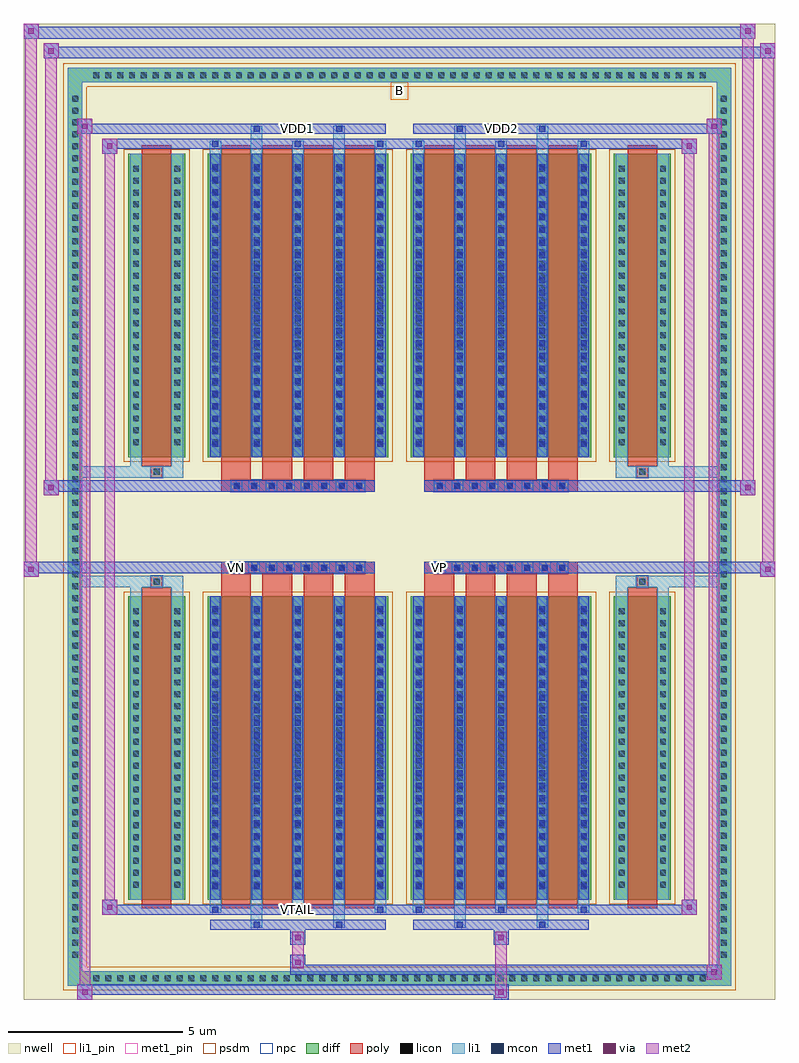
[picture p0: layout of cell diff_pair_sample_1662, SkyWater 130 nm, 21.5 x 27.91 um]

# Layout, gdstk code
import gdstk
lib = gdstk.Library(unit=1e-6, precision=5e-09)
def R(c, l, rs):  # rectangles x0, y0, x1, y1
    for r in rs: c.add(gdstk.rectangle(r[:2], r[2:], *l))
def A(c, l, x, y, w, h, nx, ny, dx, dy):  # array of equal rectangles
    R(c, l, [(x+i*dx, y+j*dy, x+i*dx+w, y+j*dy+h) for i in range(nx) for j in range(ny)])
def P(c, l, *ps):  # polygons
    for p in ps: c.add(gdstk.Polygon(p, *l))
nwell = (64, 20)
diff = (65, 20)
poly = (66, 20)
licon = (66, 44)
li1_pin = (67, 16)
li1 = (67, 20)
mcon = (67, 44)
met1_pin = (68, 16)
met1 = (68, 20)
via = (68, 44)
met2 = (69, 20)
psdm = (94, 20)
npc = (95, 20)

diff_pair_sample_1662 = lib.new_cell('diff_pair_sample_1662')
R(diff_pair_sample_1662, nwell, [(-10.75,-13.52,10.75,14.39), (-8.07,-11.71,-0.01,-0.805), (0.01,-11.71,8.07,-0.805), (-8.07,0.805,-0.01,11.71), (0.01,0.805,8.07,11.71)])
A(diff_pair_sample_1662, diff, -8.875, -13.12, 0.41, 0.41, 52, 2, 0.34, 25.83)
A(diff_pair_sample_1662, diff, -9.48, -12.445, 0.41, 0.41, 1, 73, 0, 0.34)
A(diff_pair_sample_1662, diff, 9.07, -12.445, 0.41, 0.41, 1, 73, 0, 0.34)
R(diff_pair_sample_1662, diff, [(-8.875,-13.12,8.875,-12.71), (-9.48,-12.445,-9.07,12.445), (9.07,-12.445,9.48,12.445), (-7.76,-10.665,-6.13,-1.985), (-5.49,-10.665,-0.32,-1.985), (0.32,-10.665,5.49,-1.985), (6.13,-10.665,7.76,-1.985), (-7.76,1.985,-6.13,10.665), (-5.49,1.985,-0.32,10.665), (0.32,1.985,5.49,10.665), (6.13,1.985,7.76,10.665), (-8.875,12.71,8.875,13.12)])
P(diff_pair_sample_1662, diff, [(9.48,13.12),(-9.48,13.12),(-9.48,-12.71),(-9.07,-12.71),(-9.07,12.71),(9.07,12.71),(9.07,-12.71),(-9.07,-12.71),(-9.48,-12.71),(-9.48,-13.12),(9.48,-13.12)])
A(diff_pair_sample_1662, poly, -5.1, -10.915, 0.85, 9.18, 4, 2, 1.18, 12.65)
A(diff_pair_sample_1662, poly, 0.71, -10.915, 0.85, 9.18, 4, 2, 1.18, 12.65)
A(diff_pair_sample_1662, poly, -5.1, -1.735, 0.85, 0.4, 4, 2, 1.18, 3.07)
A(diff_pair_sample_1662, poly, 0.71, -1.735, 0.85, 0.4, 4, 2, 1.18, 3.07)
A(diff_pair_sample_1662, poly, -4.82, -1.335, 0.33, 0.33, 8, 2, 0.5, 2.34)
A(diff_pair_sample_1662, poly, 0.99, -1.335, 0.33, 0.33, 8, 2, 0.5, 2.34)
R(diff_pair_sample_1662, poly, [(-7.37,-10.915,-6.52,-1.735), (6.52,-10.915,7.37,-1.735), (-7.11,-1.735,-6.78,-1.405), (-7.11,-1.735,-6.78,-1.405), (6.78,-1.735,7.11,-1.405), (6.78,-1.735,7.11,-1.405), (-5.1,-1.335,-0.71,-1.005), (0.71,-1.335,5.1,-1.005), (-5.1,1.005,-0.71,1.335), (0.71,1.005,5.1,1.335), (-7.11,1.405,-6.78,1.735), (-7.11,1.405,-6.78,1.735), (6.78,1.405,7.11,1.735), (6.78,1.405,7.11,1.735), (-7.37,1.735,-6.52,10.915), (6.52,1.735,7.37,10.915)])
A(diff_pair_sample_1662, licon, -8.755, -13, 0.17, 0.17, 52, 2, 0.34, 25.83)
A(diff_pair_sample_1662, licon, -9.36, -12.325, 0.17, 0.17, 1, 73, 0, 0.34)
A(diff_pair_sample_1662, licon, 9.19, -12.325, 0.17, 0.17, 1, 73, 0, 0.34)
A(diff_pair_sample_1662, licon, -7.62, -10.32, 0.17, 0.17, 1, 24, 0, 0.34)
A(diff_pair_sample_1662, licon, -6.44, -10.32, 0.17, 0.17, 1, 24, 0, 0.34)
A(diff_pair_sample_1662, licon, -5.35, -10.32, 0.17, 0.17, 5, 24, 1.18, 0.34)
A(diff_pair_sample_1662, licon, 0.46, -10.32, 0.17, 0.17, 5, 24, 1.18, 0.34)
A(diff_pair_sample_1662, licon, 6.27, -10.32, 0.17, 0.17, 1, 24, 0, 0.34)
A(diff_pair_sample_1662, licon, 7.45, -10.32, 0.17, 0.17, 1, 24, 0, 0.34)
A(diff_pair_sample_1662, licon, -4.74, -1.255, 0.17, 0.17, 8, 2, 0.5, 2.34)
A(diff_pair_sample_1662, licon, 1.07, -1.255, 0.17, 0.17, 8, 2, 0.5, 2.34)
A(diff_pair_sample_1662, licon, -7.62, 2.33, 0.17, 0.17, 1, 24, 0, 0.34)
A(diff_pair_sample_1662, licon, -6.44, 2.33, 0.17, 0.17, 1, 24, 0, 0.34)
A(diff_pair_sample_1662, licon, -5.35, 2.33, 0.17, 0.17, 5, 24, 1.18, 0.34)
A(diff_pair_sample_1662, licon, 0.46, 2.33, 0.17, 0.17, 5, 24, 1.18, 0.34)
A(diff_pair_sample_1662, licon, 6.27, 2.33, 0.17, 0.17, 1, 24, 0, 0.34)
A(diff_pair_sample_1662, licon, 7.45, 2.33, 0.17, 0.17, 1, 24, 0, 0.34)
R(diff_pair_sample_1662, licon, [(-7.03,-1.655,-6.86,-1.485), (6.86,-1.655,7.03,-1.485), (-7.03,1.485,-6.86,1.655), (6.86,1.485,7.03,1.655)])
R(diff_pair_sample_1662, li1_pin, [(-0.25,12.21,0.25,12.71)])
A(diff_pair_sample_1662, li1, -8.835, -13.08, 0.33, 0.33, 52, 2, 0.34, 25.83)
A(diff_pair_sample_1662, li1, -9.44, -12.405, 0.33, 0.33, 1, 73, 0, 0.34)
A(diff_pair_sample_1662, li1, 9.11, -12.405, 0.33, 0.33, 1, 73, 0, 0.34)
A(diff_pair_sample_1662, li1, -5.43, -11.04, 0.33, 0.375, 3, 2, 2.36, 21.705)
A(diff_pair_sample_1662, li1, -5.35, -11.04, 0.17, 0.17, 3, 2, 2.36, 21.91)
A(diff_pair_sample_1662, li1, 0.38, -11.04, 0.33, 0.375, 3, 2, 2.36, 21.705)
A(diff_pair_sample_1662, li1, 0.46, -11.04, 0.17, 0.17, 3, 2, 2.36, 21.91)
A(diff_pair_sample_1662, li1, -5.43, -10.665, 0.33, 8.68, 5, 2, 1.18, 12.65)
A(diff_pair_sample_1662, li1, 0.38, -10.665, 0.33, 8.68, 5, 2, 1.18, 12.65)
A(diff_pair_sample_1662, li1, -7.7, -10.4, 0.33, 0.33, 1, 24, 0, 0.34)
A(diff_pair_sample_1662, li1, -6.52, -10.4, 0.33, 0.33, 1, 24, 0, 0.34)
A(diff_pair_sample_1662, li1, -5.43, -10.4, 0.33, 0.33, 5, 24, 1.18, 0.34)
A(diff_pair_sample_1662, li1, 0.38, -10.4, 0.33, 0.33, 5, 24, 1.18, 0.34)
A(diff_pair_sample_1662, li1, 6.19, -10.4, 0.33, 0.33, 1, 24, 0, 0.34)
A(diff_pair_sample_1662, li1, 7.37, -10.4, 0.33, 0.33, 1, 24, 0, 0.34)
A(diff_pair_sample_1662, li1, -5.35, -10.37, 0.17, 0.17, 5, 23, 1.18, 0.36)
A(diff_pair_sample_1662, li1, -5.35, -10.37, 0.17, 8.09, 5, 2, 1.18, 12.65)
A(diff_pair_sample_1662, li1, 0.46, -10.37, 0.17, 0.17, 5, 23, 1.18, 0.36)
A(diff_pair_sample_1662, li1, 0.46, -10.37, 0.17, 8.09, 5, 2, 1.18, 12.65)
A(diff_pair_sample_1662, li1, -4.82, -1.335, 0.33, 0.33, 8, 2, 0.5, 2.34)
A(diff_pair_sample_1662, li1, 0.99, -1.335, 0.33, 0.33, 8, 2, 0.5, 2.34)
A(diff_pair_sample_1662, li1, -7.7, 2.25, 0.33, 0.33, 1, 24, 0, 0.34)
A(diff_pair_sample_1662, li1, -6.52, 2.25, 0.33, 0.33, 1, 24, 0, 0.34)
A(diff_pair_sample_1662, li1, -5.43, 2.25, 0.33, 0.33, 5, 24, 1.18, 0.34)
A(diff_pair_sample_1662, li1, 0.38, 2.25, 0.33, 0.33, 5, 24, 1.18, 0.34)
A(diff_pair_sample_1662, li1, 6.19, 2.25, 0.33, 0.33, 1, 24, 0, 0.34)
A(diff_pair_sample_1662, li1, 7.37, 2.25, 0.33, 0.33, 1, 24, 0, 0.34)
A(diff_pair_sample_1662, li1, -5.35, 2.28, 0.17, 0.17, 5, 23, 1.18, 0.36)
A(diff_pair_sample_1662, li1, 0.46, 2.28, 0.17, 0.17, 5, 23, 1.18, 0.36)
R(diff_pair_sample_1662, li1, [(-9.48,-13.12,-9.07,-12.71), (-9.48,-13.12,-9.07,-12.71), (-9.07,-13.12,9.07,-12.71), (9.07,-13.12,9.48,-12.71), (9.07,-13.12,9.48,-12.71), (-9.48,-12.71,-9.07,12.71), (9.07,-12.71,9.48,12.71), (-4.25,-11.47,-3.92,-10.665), (-4.17,-11.47,-4,-11.3), (-1.89,-11.47,-1.56,-10.665), (-1.81,-11.47,-1.64,-11.3), (1.56,-11.47,1.89,-10.665), (1.64,-11.47,1.81,-11.3), (3.92,-11.47,4.25,-10.665), (4,-11.47,4.17,-11.3), (-7.7,-10.665,-7.37,-1.985), (-6.52,-10.665,-6.19,-1.985), (6.19,-10.665,6.52,-1.985), (7.37,-10.665,7.7,-1.985), (-7.7,-1.985,-7.37,-1.405), (-6.52,-1.985,-6.19,-1.405), (6.19,-1.985,6.52,-1.405), (7.37,-1.985,7.7,-1.405), (-9.48,-1.735,-7.11,-1.405), (-7.7,-1.735,-7.11,-1.405), (-7.11,-1.735,-6.78,-1.405), (-6.78,-1.735,-6.19,-1.405), (6.19,-1.735,6.78,-1.405), (6.78,-1.735,7.11,-1.405), (6.78,-1.735,9.48,-1.405), (7.11,-1.735,7.7,-1.405), (-9.48,1.405,-7.11,1.735), (-7.7,1.405,-7.11,1.735), (-7.7,1.405,-7.37,1.985), (-7.11,1.405,-6.78,1.735), (-6.78,1.405,-6.19,1.735), (-6.52,1.405,-6.19,1.985), (6.19,1.405,6.78,1.735), (6.19,1.405,6.52,1.985), (6.78,1.405,7.11,1.735), (6.78,1.405,9.48,1.735), (7.11,1.405,7.7,1.735), (7.37,1.405,7.7,1.985), (-7.7,1.985,-7.37,10.665), (-6.52,1.985,-6.19,10.665), (6.19,1.985,6.52,10.665), (7.37,1.985,7.7,10.665), (-4.25,10.665,-3.92,11.47), (-1.89,10.665,-1.56,11.47), (1.56,10.665,1.89,11.47), (3.92,10.665,4.25,11.47), (-4.17,11.3,-4,11.47), (-1.81,11.3,-1.64,11.47), (1.64,11.3,1.81,11.47), (4,11.3,4.17,11.47), (-9.48,12.71,-9.07,13.12), (-9.48,12.71,-9.07,13.12), (-9.07,12.71,9.07,13.12), (9.07,12.71,9.48,13.12), (9.07,12.71,9.48,13.12)])
A(diff_pair_sample_1662, mcon, -5.35, -11.04, 0.17, 0.17, 3, 2, 2.36, 21.91)
A(diff_pair_sample_1662, mcon, 0.46, -11.04, 0.17, 0.17, 3, 2, 2.36, 21.91)
A(diff_pair_sample_1662, mcon, -5.35, -10.37, 0.17, 0.17, 5, 23, 1.18, 0.36)
A(diff_pair_sample_1662, mcon, 0.46, -10.37, 0.17, 0.17, 5, 23, 1.18, 0.36)
A(diff_pair_sample_1662, mcon, -4.74, -1.255, 0.17, 0.17, 8, 2, 0.5, 2.34)
A(diff_pair_sample_1662, mcon, 1.07, -1.255, 0.17, 0.17, 8, 2, 0.5, 2.34)
A(diff_pair_sample_1662, mcon, -5.35, 2.28, 0.17, 0.17, 5, 23, 1.18, 0.36)
A(diff_pair_sample_1662, mcon, 0.46, 2.28, 0.17, 0.17, 5, 23, 1.18, 0.36)
R(diff_pair_sample_1662, mcon, [(-4.17,-11.47,-4,-11.3), (-1.81,-11.47,-1.64,-11.3), (1.64,-11.47,1.81,-11.3), (4,-11.47,4.17,-11.3), (-4.17,11.3,-4,11.47), (-1.81,11.3,-1.64,11.47), (1.64,11.3,1.81,11.47), (4,11.3,4.17,11.47)])
R(diff_pair_sample_1662, met1_pin, [(-3.04,-11.08,-2.77,-10.81), (-4.79,-1.295,-4.52,-1.025), (1.02,-1.295,1.29,-1.025), (-3.04,11.26,-2.77,11.53), (2.77,11.26,3.04,11.53)])
A(diff_pair_sample_1662, met1, -5.41, -11.1, 0.29, 0.29, 3, 2, 2.36, 21.91)
A(diff_pair_sample_1662, met1, 0.4, -11.1, 0.29, 0.29, 3, 2, 2.36, 21.91)
A(diff_pair_sample_1662, met1, -5.41, -10.665, 0.29, 8.68, 5, 2, 1.18, 12.65)
A(diff_pair_sample_1662, met1, 0.4, -10.665, 0.29, 8.68, 5, 2, 1.18, 12.65)
A(diff_pair_sample_1662, met1, -5.41, -10.43, 0.29, 0.29, 5, 23, 1.18, 0.36)
A(diff_pair_sample_1662, met1, 0.4, -10.43, 0.29, 0.29, 5, 23, 1.18, 0.36)
A(diff_pair_sample_1662, met1, -4.8, -1.315, 0.29, 0.29, 8, 2, 0.5, 2.34)
A(diff_pair_sample_1662, met1, 1.01, -1.315, 0.29, 0.29, 8, 2, 0.5, 2.34)
A(diff_pair_sample_1662, met1, -5.41, 2.22, 0.29, 0.29, 5, 23, 1.18, 0.36)
A(diff_pair_sample_1662, met1, 0.4, 2.22, 0.29, 0.29, 5, 23, 1.18, 0.36)
R(diff_pair_sample_1662, met1, [(-9.21,-13.52,-8.78,-13.09), (2.69,-13.52,3.12,-13.09), (-9.21,-13.38,3.12,-13.09), (8.78,-12.95,9.21,-12.52), (-3.12,-12.81,9.21,-12.52), (-3.12,-12.67,-2.69,-12.24), (-3.12,-11.96,-2.69,-11.53), (2.69,-11.96,3.12,-11.53), (-5.41,-11.53,-0.4,-11.24), (-4.23,-11.53,-3.94,-11.24), (-1.87,-11.53,-1.58,-11.24), (0.4,-11.53,5.41,-11.24), (1.58,-11.53,1.87,-11.24), (3.94,-11.53,4.23,-11.24), (-8.5,-11.1,-8.07,-10.67), (-8.5,-11.1,-5.41,-10.81), (-5.41,-11.1,-0.4,-10.81), (-0.4,-11.1,0.4,-10.81), (0.4,-11.1,5.41,-10.81), (5.41,-11.1,8.5,-10.81), (8.07,-11.1,8.5,-10.67), (-10.75,-1.435,-10.32,-1.005), (10.32,-1.435,10.75,-1.005), (-10.75,-1.335,-0.71,-1.005), (-5.1,-1.335,-0.71,-1.005), (0.71,-1.335,5.1,-1.005), (0.71,-1.335,10.75,-1.005), (-10.18,0.905,-9.75,1.335), (9.75,0.905,10.18,1.335), (-10.18,1.005,-5.1,1.335), (-5.1,1.005,-0.71,1.335), (0.71,1.005,5.1,1.335), (5.1,1.005,10.18,1.335), (-8.5,10.67,-8.07,11.1), (8.07,10.67,8.5,11.1), (-8.5,10.81,-5.41,11.1), (-5.41,10.81,-0.4,11.1), (-0.4,10.81,0.4,11.1), (0.4,10.81,5.41,11.1), (5.41,10.81,8.5,11.1), (-9.21,11.24,-8.78,11.67), (-9.21,11.24,-5.41,11.53), (-5.41,11.24,-0.4,11.53), (-4.23,11.24,-3.94,11.53), (-1.87,11.24,-1.58,11.53), (0.4,11.24,5.41,11.53), (1.58,11.24,1.87,11.53), (3.94,11.24,4.23,11.53), (5.41,11.24,9.21,11.53), (8.78,11.24,9.21,11.67), (-10.18,13.39,-9.75,13.82), (-10.18,13.39,-8.07,13.72), (-8.07,13.39,8.07,13.72), (8.07,13.39,10.75,13.72), (10.32,13.39,10.75,13.82), (-10.75,13.96,-10.32,14.39), (-10.75,13.96,-8.07,14.29), (-8.07,13.96,8.07,14.29), (8.07,13.96,10.18,14.29), (9.75,13.96,10.18,14.39)])
R(diff_pair_sample_1662, via, [(-9.07,-13.38,-8.92,-13.23), (2.83,-13.38,2.98,-13.23), (8.92,-12.81,9.07,-12.66), (-2.98,-12.53,-2.83,-12.38), (-2.98,-11.82,-2.83,-11.67), (2.83,-11.82,2.98,-11.67), (-8.36,-10.96,-8.21,-10.81), (8.21,-10.96,8.36,-10.81), (-10.61,-1.295,-10.46,-1.145), (10.46,-1.295,10.61,-1.145), (-10.04,1.045,-9.89,1.195), (9.89,1.045,10.04,1.195), (-8.36,10.81,-8.21,10.96), (8.21,10.81,8.36,10.96), (-9.07,11.38,-8.92,11.53), (8.92,11.38,9.07,11.53), (-10.04,13.53,-9.89,13.68), (10.46,13.53,10.61,13.68), (-10.61,14.1,-10.46,14.25), (9.89,14.1,10.04,14.25)])
R(diff_pair_sample_1662, met2, [(-9.21,-13.52,-8.78,-13.09), (-9.14,-13.52,-8.85,11.67), (-8.85,-13.52,-8.78,-13.09), (-9.16,-13.47,-8.83,-13.14), (2.74,-13.47,3.07,-13.14), (2.74,-13.14,3.07,-11.91), (8.78,-12.95,9.21,-12.52), (8.85,-12.95,9.14,11.67), (9.14,-12.95,9.21,-12.52), (8.83,-12.9,9.16,-12.57), (-3.07,-12.62,-2.74,-12.29), (-3.07,-12.29,-2.74,-11.91), (-3.07,-11.91,-2.74,-11.58), (2.74,-11.91,3.07,-11.58), (-8.5,-11.1,-8.07,-10.67), (-8.43,-11.1,-8.14,11.1), (-8.14,-11.1,-8.07,-10.67), (8.07,-11.1,8.5,-10.67), (8.14,-11.1,8.43,11.1), (8.43,-11.1,8.5,-10.67), (-8.45,-11.05,-8.12,-10.72), (8.12,-11.05,8.45,-10.72), (-10.75,-1.435,-10.32,-1.005), (-10.7,-1.435,-10.37,14.39), (-10.37,-1.435,-10.32,-1.005), (10.32,-1.435,10.75,-1.005), (10.37,-1.435,10.7,13.82), (10.7,-1.435,10.75,-1.005), (-10.7,-1.385,-10.37,-1.055), (10.37,-1.385,10.7,-1.055), (-10.18,0.905,-9.75,1.335), (-10.13,0.905,-9.8,13.82), (-9.8,0.905,-9.75,1.335), (9.75,0.905,10.18,1.335), (9.8,0.905,10.13,14.39), (10.13,0.905,10.18,1.335), (-10.13,0.955,-9.8,1.285), (9.8,0.955,10.13,1.285), (-8.5,10.67,-8.07,11.1), (-8.14,10.67,-8.07,11.1), (8.07,10.67,8.5,11.1), (8.43,10.67,8.5,11.1), (-8.45,10.72,-8.12,11.05), (8.12,10.72,8.45,11.05), (-9.21,11.24,-8.78,11.67), (-8.85,11.24,-8.78,11.67), (8.78,11.24,9.21,11.67), (9.14,11.24,9.21,11.67), (-9.16,11.29,-8.83,11.62), (8.83,11.29,9.16,11.62), (-10.18,13.39,-9.75,13.82), (-9.8,13.39,-9.75,13.82), (10.32,13.39,10.75,13.82), (10.7,13.39,10.75,13.82), (-10.13,13.44,-9.8,13.77), (10.37,13.44,10.7,13.77), (-10.75,13.96,-10.32,14.39), (-10.37,13.96,-10.32,14.39), (9.75,13.96,10.18,14.39), (10.13,13.96,10.18,14.39), (-10.7,14.01,-10.37,14.34), (9.8,14.01,10.13,14.34)])
R(diff_pair_sample_1662, psdm, [(-7.89,-10.795,-6,-1.855), (-5.62,-10.795,-0.19,-1.855), (0.19,-10.795,5.62,-1.855), (6,-10.795,7.89,-1.855), (-7.89,1.855,-6,10.795), (-5.62,1.855,-0.19,10.795), (0.19,1.855,5.62,10.795), (6,1.855,7.89,10.795)])
P(diff_pair_sample_1662, psdm, [(9.61,13.25),(-9.61,13.25),(-9.61,-12.58),(-8.94,-12.58),(-8.94,12.58),(8.94,12.58),(8.94,-12.58),(-8.94,-12.58),(-9.61,-12.58),(-9.61,-13.25),(9.61,-13.25)])
A(diff_pair_sample_1662, npc, -4.84, -1.355, 0.37, 0.37, 8, 2, 0.5, 2.34)
A(diff_pair_sample_1662, npc, 0.97, -1.355, 0.37, 0.37, 8, 2, 0.5, 2.34)
R(diff_pair_sample_1662, npc, [(-7.13,-1.755,-6.76,-1.385), (6.76,-1.755,7.13,-1.385), (-4.84,-1.355,-3.97,-0.985), (-4.84,-1.355,-3.97,-0.985), (-4.34,-1.355,-3.47,-0.985), (-4.34,-1.355,-3.47,-0.985), (-3.84,-1.355,-2.97,-0.985), (-3.84,-1.355,-2.97,-0.985), (-3.34,-1.355,-2.47,-0.985), (-3.34,-1.355,-2.47,-0.985), (-2.84,-1.355,-1.97,-0.985), (-2.84,-1.355,-1.97,-0.985), (-2.34,-1.355,-1.47,-0.985), (-2.34,-1.355,-1.47,-0.985), (-1.84,-1.355,-0.97,-0.985), (-1.84,-1.355,-0.97,-0.985), (0.97,-1.355,1.84,-0.985), (0.97,-1.355,1.84,-0.985), (1.47,-1.355,2.34,-0.985), (1.47,-1.355,2.34,-0.985), (1.97,-1.355,2.84,-0.985), (1.97,-1.355,2.84,-0.985), (2.47,-1.355,3.34,-0.985), (2.47,-1.355,3.34,-0.985), (2.97,-1.355,3.84,-0.985), (2.97,-1.355,3.84,-0.985), (3.47,-1.355,4.34,-0.985), (3.47,-1.355,4.34,-0.985), (3.97,-1.355,4.84,-0.985), (3.97,-1.355,4.84,-0.985), (-4.84,0.985,-3.97,1.355), (-4.84,0.985,-3.97,1.355), (-4.34,0.985,-3.47,1.355), (-4.34,0.985,-3.47,1.355), (-3.84,0.985,-2.97,1.355), (-3.84,0.985,-2.97,1.355), (-3.34,0.985,-2.47,1.355), (-3.34,0.985,-2.47,1.355), (-2.84,0.985,-1.97,1.355), (-2.84,0.985,-1.97,1.355), (-2.34,0.985,-1.47,1.355), (-2.34,0.985,-1.47,1.355), (-1.84,0.985,-0.97,1.355), (-1.84,0.985,-0.97,1.355), (0.97,0.985,1.84,1.355), (0.97,0.985,1.84,1.355), (1.47,0.985,2.34,1.355), (1.47,0.985,2.34,1.355), (1.97,0.985,2.84,1.355), (1.97,0.985,2.84,1.355), (2.47,0.985,3.34,1.355), (2.47,0.985,3.34,1.355), (2.97,0.985,3.84,1.355), (2.97,0.985,3.84,1.355), (3.47,0.985,4.34,1.355), (3.47,0.985,4.34,1.355), (3.97,0.985,4.84,1.355), (3.97,0.985,4.84,1.355), (-7.13,1.385,-6.76,1.755), (6.76,1.385,7.13,1.755)])
diff_pair_sample_1662.add(gdstk.Label('VTAIL', (-2.905,-10.945), layer=68, texttype=5))
diff_pair_sample_1662.add(gdstk.Label('VN', (-4.655,-1.16), layer=68, texttype=5))
diff_pair_sample_1662.add(gdstk.Label('VP', (1.155,-1.16), layer=68, texttype=5))
diff_pair_sample_1662.add(gdstk.Label('B', (0,12.46), layer=67, texttype=5))
diff_pair_sample_1662.add(gdstk.Label('VDD2', (2.905,11.395), layer=68, texttype=5))
diff_pair_sample_1662.add(gdstk.Label('VDD1', (-2.905,11.395), layer=68, texttype=5))

lib.write_gds('diff_pair_sample_1662.gds')
